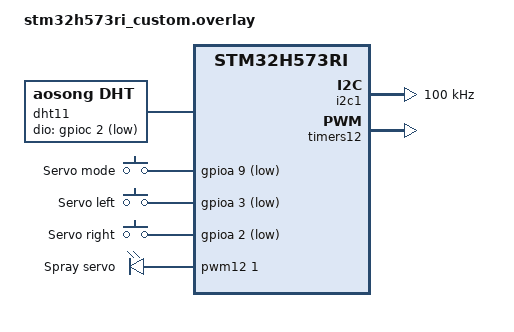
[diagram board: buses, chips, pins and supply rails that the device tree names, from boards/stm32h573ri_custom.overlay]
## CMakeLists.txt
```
cmake_minimum_required(VERSION 3.20.0)

# Board definition in boards/st/ (scripts/build.sh also passes it for sysbuild)
list(APPEND BOARD_ROOT ${CMAKE_CURRENT_SOURCE_DIR})

find_package(Zephyr REQUIRED HINTS $ENV{ZEPHYR_BASE})
project(SmartEnvironment)

# Firmware identity: FW_VERSION comes from the VERSION file (MCUboot signs the
# image with the same version); FW_DEVICE_NAME is the default device name and
# MQTT client ID (at most 15 characters)
if(NOT APP_VERSION_STRING)
  message(FATAL_ERROR "${CMAKE_CURRENT_SOURCE_DIR}/VERSION is missing")
endif()
target_compile_definitions(app PRIVATE
  FW_NAME="SmartEnvironment"
  FW_VERSION="${APP_VERSION_STRING}"
  FW_DEVICE_NAME="SmartEnv"
)

# Drivers in src/drivers/<name>: their .c files are built, their folder is on
# the include path
set(DRIVERS
  boot          # MCUboot image confirm, NRST swap gesture
  config        # configuration in flash (A/B + CRC), IP / MAC
  network       # W5500 Ethernet, DHCP / static IP
  mqtt          # MQTT client (TLS), status + per-device topics
  web           # web server: login, configuration page, /api
  gpio          # relays, buttons
  pwm           # used by the servo driver
  i2c           # bus of the LCD
  lcd           # 20x4 LCD (PCF8574)
  dht11         # temperature / humidity
  servo         # spray nozzle
)
foreach(drv ${DRIVERS})
  file(GLOB srcs ${CMAKE_CURRENT_SOURCE_DIR}/src/drivers/${drv}/*.c)
  target_sources(app PRIVATE ${srcs})
  target_include_directories(app PRIVATE src/drivers/${drv})
endforeach()

# Mbed TLS user config (src/drivers/mqtt/mbedtls_user_config.h) must be seen
# by the Zephyr libraries too
zephyr_include_directories(src/drivers/mqtt)

# Application: main.c and the logic files next to it (overview in src/app.h)
target_include_directories(app PRIVATE src)
target_sources(app PRIVATE
  src/main.c          # start-up, main loop, buttons
  src/env.c           # environment analysis, relay 1
  src/pump.c          # pump state machine
  src/motion.c        # servo thread, BTN2 hold
  src/lcd_view.c      # LCD thread and screens
  src/status_json.c   # JSON for MQTT and the web page
  src/web_app.c       # web page hooks, /api routes
)
```

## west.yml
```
# west manifest for the SmartEnvironment showcase.
#
#   west init -l --mf showcase/SmartEnvironment/west.yml fptUniversity
#   (run from the directory that holds the fptUniversity clone)
#   west update
#
# Only the modules this firmware needs are fetched. (scripts/setup.sh does
# all of this.)
manifest:
  version: "1.2"

  remotes:
    - name: zephyrproject-rtos
      url-base: https://github.com/zephyrproject-rtos

  projects:
    - name: zephyr
      remote: zephyrproject-rtos
      revision: v4.4.2
      import:
        name-allowlist:
          - cmsis
          - cmsis_6
          - hal_stm32
          - mbedtls
          - mcuboot
          - picolibc
          - segger
          - tf-psa-crypto
          - zcbor

  self:
    path: fptUniversity
```

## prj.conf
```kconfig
# SmartEnvironment 1.0.0 — DHT11 + environment advice + pump + spray servo.

# DHT11 (PC2). The bit timing is decoded by busy polling, keep IRQs from
# stretching the measured pulses.
CONFIG_SENSOR=y
CONFIG_DHT=y
CONFIG_DHT_LOCK_IRQS=y

# Spray servo on TIM12 (PB14)
CONFIG_PWM=y

# ── Console, MCUboot, config flash, LCD (I2C), Ethernet, web, MQTT ──
CONFIG_BOOT_BANNER=y
CONFIG_PRINTK=y
CONFIG_LOG=y
CONFIG_LOG_DEFAULT_LEVEL=3
CONFIG_STDOUT_CONSOLE=y

# Console over SEGGER RTT (read through the SWD probe, no UART adapter):
# printk and the log both go to RTT channel 0. UART5 stays free.
CONFIG_USE_SEGGER_RTT=y
CONFIG_RTT_CONSOLE=y
CONFIG_UART_CONSOLE=n
CONFIG_LOG_BACKEND_UART=n
CONFIG_LOG_BACKEND_RTT=y
# Keep SWD reachable while the idle thread sits in WFI
CONFIG_STM32_ENABLE_DEBUG_SLEEP_STOP=y
CONFIG_GPIO=y
CONFIG_BOOTLOADER_MCUBOOT=y
CONFIG_FLASH=y
CONFIG_FLASH_MAP=y
CONFIG_FLASH_PAGE_LAYOUT=y
CONFIG_IMG_MANAGER=y
CONFIG_MCUBOOT_IMG_MANAGER=y
CONFIG_STREAM_FLASH=y
CONFIG_IMG_ERASE_PROGRESSIVELY=y
CONFIG_REBOOT=y

# 20x4 LCD (PCF8574 on I2C1)
CONFIG_I2C=y

# W5500 Ethernet
CONFIG_SPI=y
CONFIG_ETH_W5500=y
CONFIG_NET_L2_ETHERNET=y
CONFIG_NETWORKING=y
CONFIG_NET_IPV4=y
CONFIG_NET_TCP=y
CONFIG_NET_SOCKETS=y
CONFIG_NET_DHCPV4=y
# IP is assigned at runtime by network.c (DHCP or static per web config).
# net_config auto-init + compile-time static are disabled so they don't
# force 192.168.1.100 before the DHCP client can request a lease.
CONFIG_NET_MGMT=y
CONFIG_NET_MGMT_EVENT=y
CONFIG_POSIX_API=y

# Thread / memory. Thread priorities: table in src/config.h. main (the
# control loop) is preemptible at 5, below the network stack (W5500 RX and
# TCP at 2) so a long computation never holds the network up.
CONFIG_MAIN_THREAD_PRIORITY=5
CONFIG_THREAD_NAME=y
CONFIG_MAIN_STACK_SIZE=4096
CONFIG_NET_TX_STACK_SIZE=2048
CONFIG_NET_RX_STACK_SIZE=2048
CONFIG_SYSTEM_WORKQUEUE_STACK_SIZE=2048
CONFIG_ZVFS_POLL_MAX=6
CONFIG_NET_MAX_CONN=8
CONFIG_NET_MAX_CONTEXTS=12

CONFIG_HEAP_MEM_POOL_SIZE=16384

# ── MQTT client + DNS ──
CONFIG_MQTT_LIB=y
CONFIG_DNS_RESOLVER=y
CONFIG_DNS_SERVER_IP_ADDRESSES=y
CONFIG_DNS_SERVER1="8.8.8.8"

# ── TLS for MQTT (port 8883, broker certificate verified against ISRG Root X1) ──
CONFIG_MQTT_LIB_TLS=y
CONFIG_NET_SOCKETS_SOCKOPT_TLS=y
CONFIG_NET_SOCKETS_TLS_MAX_CONTEXTS=2
CONFIG_NET_SOCKETS_TLS_CONNECT_TIMEOUT=10000
CONFIG_TLS_CREDENTIALS=y
CONFIG_MBEDTLS=y
CONFIG_MBEDTLS_ENABLE_HEAP=y
CONFIG_MBEDTLS_HEAP_SIZE=65536
# 16 KB input records; the output buffer is reduced to 2 KB in
# src/drivers/mqtt/mbedtls_user_config.h
CONFIG_MBEDTLS_SSL_MAX_CONTENT_LEN=16384
CONFIG_MBEDTLS_USER_CONFIG_FILE="mbedtls_user_config.h"
CONFIG_MBEDTLS_SSL_SERVER_NAME_INDICATION=y
CONFIG_MBEDTLS_SSL_PROTO_TLS1_3=y
CONFIG_MBEDTLS_SSL_TLS1_3_KEY_EXCHANGE_MODE_EPHEMERAL_ENABLED=y
CONFIG_MBEDTLS_CIPHERSUITE_TLS1_3_AES_128_GCM_SHA256=y
CONFIG_MBEDTLS_CIPHERSUITE_TLS_ECDHE_ECDSA_WITH_AES_128_GCM_SHA256=y
CONFIG_MBEDTLS_CIPHERSUITE_TLS_ECDHE_RSA_WITH_AES_128_GCM_SHA256=y
CONFIG_MBEDTLS_X509_CRT_PARSE_C=y
CONFIG_MBEDTLS_PEM_PARSE_C=y
CONFIG_PSA_WANT_ALG_SHA_384=y
```

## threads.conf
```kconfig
# Extra Kconfig for `scripts/build.sh --threads`: prints every thread's
# stack use and CPU share on the console (RTT) every 30 s. Not for release.
CONFIG_THREAD_ANALYZER=y
CONFIG_THREAD_ANALYZER_USE_PRINTK=y
CONFIG_THREAD_ANALYZER_AUTO=y
CONFIG_THREAD_ANALYZER_AUTO_INTERVAL=30
CONFIG_THREAD_RUNTIME_STATS=y
```

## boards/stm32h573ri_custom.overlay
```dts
/*
 * SmartEnvironment: DHT11, 20x4 LCD, mini pump, spray servo and 4 buttons on
 * the Base Board.
 *
 *   U16-5  PC2   DHT11 DATA        (SPI2 MISO on the board, SPI2 disabled below)
 *   U16-10 PB6   I2C1 SCL -> PCF8574 backpack of the 20x4 LCD
 *   U16-9  PB9   I2C1 SDA -> PCF8574 backpack of the 20x4 LCD
 *   U16-16 PB14  servo signal      (TIM12_CH1, USART1 TX on the board, USART1 disabled)
 *   U16-12 PA10  BTN1 pump ON/OFF  (user_btn of the board)
 *   U16-11 PA9   BTN2 servo mode   (hold 3 s; SPI2 SCK on the board)
 *   U16-3  PA3   BTN3 servo left   (hold; USART2 RX on the board)
 *   U16-4  PA2   BTN4 servo right  (hold; USART2 TX on the board)
 *   CN3-5/6      Relay 3 (PA15) switches the pump, high = on
 *   Relay 1 (PB5) blinks while the environment is not OK
 *
 * Buttons close to GND (U16-17/18); the internal pull-ups are used.
 * The board devicetree is left untouched; everything showcase specific is here.
 */

/ {
	chosen {
		/delete-property/ zephyr,canbus;
	};

	dht11: dht11 {
		compatible = "aosong,dht";
		/* Open drain: the line is only ever pulled low by the MCU; the
		 * internal pull-up is weak, add an external 4.7k-10k if the module
		 * has none. */
		dio-gpios = <&gpioc 2 (GPIO_ACTIVE_LOW | GPIO_OPEN_DRAIN | GPIO_PULL_UP)>;
	};

	showcase_buttons {
		compatible = "gpio-keys";
		btn_mode: btn_mode {
			gpios = <&gpioa 9 (GPIO_ACTIVE_LOW | GPIO_PULL_UP)>;
			label = "Servo mode";
		};
		btn_left: btn_left {
			gpios = <&gpioa 3 (GPIO_ACTIVE_LOW | GPIO_PULL_UP)>;
			label = "Servo left";
		};
		btn_right: btn_right {
			gpios = <&gpioa 2 (GPIO_ACTIVE_LOW | GPIO_PULL_UP)>;
			label = "Servo right";
		};
	};

	servos {
		compatible = "pwm-leds";
		/* 50 Hz; the pulse width (500..2400 us) sets the angle */
		spray_servo: spray_servo {
			pwms = <&pwm12 1 PWM_MSEC(20) PWM_POLARITY_NORMAL>;
			label = "Spray servo";
		};
	};

	/* Aliases of the drivers (driver_gpio, driver_dht11, driver_servo) */
	aliases {
		/* Pump switched by Relay 3 (PA15, high = contact closed):
		 * supply (+) -> CN3-5 COM3, CN3-6 OUT3 -> pump -> supply (-) */
		out0 = &relay_3;
		out1 = &relay_1;          /* alert relay, blinks with the level */
		out2 = &user_led;         /* LED LIFE (PA8), heartbeat */
		in0 = &user_btn;          /* BTN1 pump ON/OFF */
		in1 = &btn_mode;          /* BTN2 servo mode (hold 3 s) */
		in2 = &btn_left;          /* BTN3 servo left (hold) */
		in3 = &btn_right;         /* BTN4 servo right (hold) */
		dht0 = &dht11;
		servo0 = &spray_servo;
	};
};

/* Peripherals not used by the showcase */
&fdcan1 { status = "disabled"; };
&sdmmc1 { status = "disabled"; };
&usart1 { status = "disabled"; };  /* PB14: servo */
&usart2 { status = "disabled"; };  /* PA2, PA3: buttons */
&usart6 { status = "disabled"; };
&uart4  { status = "disabled"; };  /* RS485 not used */
&sht41  { status = "disabled"; };  /* replaced by the DHT11 */
&i2c2   { status = "disabled"; };
&spi2   { status = "disabled"; };  /* PC2: DHT11, PA9: button */

/* 20x4 LCD backpack: the PCF8574 is specified for 100 kHz only */
&i2c1 {
	clock-frequency = <I2C_BITRATE_STANDARD>;
};

&pinctrl {
	tim12_ch1_pb14: tim12_ch1_pb14 {
		pinmux = <STM32_PINMUX('B', 14, AF2)>;
	};
};

/* TIM12 for the servo: prescaler 100, the 20 ms period fits the 16-bit counter */
&timers12 {
	st,prescaler = <99>;
	status = "okay";
	pwm12: pwm {
		pinctrl-0 = <&tim12_ch1_pb14>;
		pinctrl-names = "default";
		status = "okay";
	};
};
```

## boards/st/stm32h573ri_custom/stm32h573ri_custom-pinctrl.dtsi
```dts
#include <dt-bindings/pinctrl/stm32-pinctrl.h>
&pinctrl {
        usart1_tx_pb14: usart1_tx_pb14 {
                pinmux = <STM32_PINMUX('B',14,AF4)>; };

        usart1_rx_pb15: usart1_rx_pb15 {
                pinmux = <STM32_PINMUX('B',15,AF4)>; };

        usart2_tx_pa2: usart2_tx_pa2 {
                pinmux = <STM32_PINMUX('A',2,AF7)>; };

        usart2_rx_pa3: usart2_rx_pa3 {
                pinmux = <STM32_PINMUX('A',3,AF7)>; };

        uart5_tx_pb13: uart5_tx_pb13 {
                pinmux = <STM32_PINMUX('B',13,AF14)>;
                bias-pull-up; };

        uart5_rx_pb12: uart5_rx_pb12 {
                pinmux = <STM32_PINMUX('B',12,AF14)>; };

        fdcan1_tx_pb7: fdcan1_tx_pb7 {
                pinmux = <STM32_PINMUX('B',7,AF9)>; };

        fdcan1_rx_pb8: fdcan1_rx_pb8 {
                pinmux = <STM32_PINMUX('B',8,AF9)>; };

        i2c1_scl_pb6: i2c1_scl_pb6 {
                pinmux = <STM32_PINMUX('B',6,AF4)>;
                bias-pull-up;
                drive-open-drain; };

        i2c1_sda_pb9: i2c1_sda_pb9 {
                pinmux = <STM32_PINMUX('B',9,AF4)>;
                bias-pull-up;
                drive-open-drain; };

        i2c2_scl_pb10: i2c2_scl_pb10 {
                pinmux = <STM32_PINMUX('B',10,AF4)>;
                bias-pull-up;
                drive-open-drain; };

        i2c2_sda_pb11: i2c2_sda_pb11 {
                pinmux = <STM32_PINMUX('B',11,AF4)>;
                bias-pull-up;
                drive-open-drain; };

        uart4_tx_pa0: uart4_tx_pa0 {
                pinmux = <STM32_PINMUX('A',0,AF8)>; };

        uart4_rx_pa1: uart4_rx_pa1 {
                pinmux = <STM32_PINMUX('A',1,AF8)>; };

        spi1_sck_pa5: spi1_sck_pa5 {
                pinmux = <STM32_PINMUX('A',5,AF5)>;
                slew-rate = "very-high-speed"; };

        spi1_miso_pa6: spi1_miso_pa6 {
                pinmux = <STM32_PINMUX('A',6,AF5)>; };

        spi1_mosi_pa7: spi1_mosi_pa7 {
                pinmux = <STM32_PINMUX('A',7,AF5)>;
                slew-rate = "very-high-speed"; };

        spi2_sck_pa9: spi2_sck_pa9 {
                pinmux = <STM32_PINMUX('A',9,AF5)>;
                slew-rate = "very-high-speed"; };

        spi2_mosi_pc1: spi2_mosi_pc1 {
                pinmux = <STM32_PINMUX('C',1,AF5)>;
                slew-rate = "very-high-speed"; };

        sdmmc1_d0_pc8: sdmmc1_d0_pc8 {
                pinmux = <STM32_PINMUX('C',8,AF12)>;
                bias-pull-up;
                slew-rate = "very-high-speed"; };

        sdmmc1_d1_pc9: sdmmc1_d1_pc9 {
                pinmux = <STM32_PINMUX('C',9,AF12)>;
                bias-pull-up;
                slew-rate = "very-high-speed"; };

        sdmmc1_d2_pc10: sdmmc1_d2_pc10 {
                pinmux = <STM32_PINMUX('C',10,AF12)>;
                bias-pull-up;
                slew-rate = "very-high-speed"; };

        sdmmc1_d3_pc11: sdmmc1_d3_pc11 {
                pinmux = <STM32_PINMUX('C',11,AF12)>;
                bias-pull-up;
                slew-rate = "very-high-speed"; };

        sdmmc1_ck_pc12: sdmmc1_ck_pc12 {
                pinmux = <STM32_PINMUX('C',12,AF12)>;
                slew-rate = "very-high-speed"; };

        sdmmc1_cmd_pb2: sdmmc1_cmd_pb2 {
                pinmux = <STM32_PINMUX('B',2,AF12)>;
                bias-pull-up;
                slew-rate = "very-high-speed"; };

        usart6_tx_pc6: usart6_tx_pc6 {
                pinmux = <STM32_PINMUX('C',6,AF7)>; };

        usart6_rx_pc7: usart6_rx_pc7 {
                pinmux = <STM32_PINMUX('C',7,AF7)>; };
};
```

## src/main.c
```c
/* SmartEnvironment: greenhouse / garden monitor with mist watering.
 *
 * main.c: start-up, the main loop and the buttons. The main thread reads the
 * DHT11 every 2 s (env.c), runs the pump state machine every second
 * (pump.c) and applies the commands of the buttons and the web page
 * (g_cmdq), so the environment and pump state only change here. The servo
 * (motion.c) and the LCD (lcd_view.c) have their own threads; LED LIFE and
 * relay 1 blink by themselves (driver_gpio_blink). Overview: app.h;
 * behaviour: README.md. */
#include <zephyr/kernel.h>
#include <zephyr/sys/printk.h>

#include "driver_dht11.h"
#include "driver_gpio.h"
#include "driver_servo.h"

#include "app_config.h"
#include "app_state.h"
#include "boot_swap.h"
#include "mqtt_app.h"
#include "network.h"
#include "app.h"

K_MUTEX_DEFINE(g_lock);
struct state g_st = { .code = ENV_WAIT };
uint32_t     g_events;

atomic_t g_servo_mode;
atomic_t g_servo_mdeg = ATOMIC_INIT(MDEG(SERVO_PARK_DEG));
atomic_t g_servo_req = ATOMIC_INIT(-1);
atomic_t g_sweeping;
atomic_t g_pump_on;
atomic_t g_hold_left, g_hold_right;
atomic_t g_mode_press_ms;
atomic_t g_alert_half_ms;

const char *const src_str[] = { "", "auto", "button", "web", "timeout" };

/* ── Commands → main thread ──────────────────────────────────── */
struct cmd {
    uint8_t type;
    int16_t val;
};

K_MSGQ_DEFINE(g_cmdq, sizeof(struct cmd), 8, 4);

bool app_post(uint8_t type, int16_t val)
{
    struct cmd c = { .type = type, .val = val };

    return k_msgq_put(&g_cmdq, &c, K_NO_WAIT) == 0;
}

void app_snapshot(struct state *st)
{
    k_mutex_lock(&g_lock, K_FOREVER);
    *st = g_st;
    k_mutex_unlock(&g_lock);
}

/* g_lock held */
static void handle_cmd(const struct cmd *c, int64_t now)
{
    switch (c->type) {
    case CMD_PUMP_TOGGLE:   /* during a session (even resting): OFF */
        pump_manual(!(g_st.pump_on || g_st.session), SRC_BUTTON, now);
        break;
    case CMD_PUMP_SET:
        pump_manual(c->val != 0, SRC_WEB, now);
        break;
    case CMD_PUMP_REARM:
        pump_rearm(now);
        break;
    case CMD_SERVO_TOGGLE:
        servo_set_mode(atomic_get(&g_servo_mode) == SERVO_AUTO ? SERVO_MANUAL : SERVO_AUTO);
        break;
    case CMD_SERVO_SET_MODE:
        servo_set_mode((enum servo_mode)c->val);
        break;
    case CMD_SERVO_ANGLE:
        if (atomic_get(&g_servo_mode) == SERVO_MANUAL) {
            atomic_set(&g_servo_req, c->val);
            g_events |= BIT(DEV_SERVO);
        }
        break;
    }
}

/* ── Buttons (driver_gpio callbacks, system work queue) ──────── */
static void on_button(uint8_t id, bool pressed)
{
    switch (id) {
    case IN_BTN_PUMP:
        if (pressed) app_post(CMD_PUMP_TOGGLE, 0);
        break;
    case IN_BTN_MODE:       /* the 3 s hold is timed by the motion thread */
        atomic_set(&g_mode_press_ms, pressed ? MAX((uint32_t)k_uptime_get(), 1u) : 0);
        break;
    case IN_BTN_LEFT:
        atomic_set(&g_hold_left, pressed);
        break;
    case IN_BTN_RIGHT:
        atomic_set(&g_hold_right, pressed);
        break;
    }
}

/* LED LIFE (out2) for the fast blink of boot_swap_check() at start-up */
static void led_set(bool on)
{
    driver_gpio_set(OUT_LED, on);
}

static void publish_events(void)
{
    for (unsigned int d = 0; d < DEV_COUNT; d++) {
        if (g_events & BIT(d)) mqtt_app_notify(d);
    }
    g_events = 0;
}

/* ── main thread ─────────────────────────────────────────────── */
int main(void)
{
    static const uint16_t heartbeat[] = HEARTBEAT_PATTERN;
    static const struct driver_servo_cfg servo_cfg = {
        .min_pulse_us = SERVO_PULSE_MIN_US, .max_pulse_us = SERVO_PULSE_MAX_US,
        .max_angle = SERVO_MAX_DEG,
    };

    printk("\n== %s v%s ==\n", FW_NAME, FW_VERSION);

    if (config_load(&g_cfg) != 0) {
        printk("[CFG] No saved config — loading defaults\n");
        config_defaults(&g_cfg);
    }
    boot_swap_confirm_image();
    if (driver_gpio_out_init(OUT_LED) != 0)      printk("[LED] LED LIFE (out2) not ready\n");
    boot_swap_check(led_set);                    /* 3 s NRST window, LED blinks fast */
    driver_gpio_blink(OUT_LED, heartbeat, ARRAY_SIZE(heartbeat));

    /* Drivers */
    if (driver_dht11_init(DHT_ID) != 0)          printk("[DHT11] not ready (dht0)\n");
    if (driver_gpio_out_init(OUT_PUMP) != 0)     printk("[PUMP] relay (out0) not ready\n");
    if (driver_gpio_out_init(OUT_ALERT) != 0)    printk("[ALERT] relay (out1) not ready\n");
    for (uint8_t i = IN_BTN_PUMP; i <= IN_BTN_RIGHT; i++) {
        if (driver_gpio_in_init(i, on_button) != 0) printk("[BTN] in%u not ready\n", i);
    }
    if (driver_servo_init(SERVO_ID, &servo_cfg) != 0) printk("[SERVO] servo0 not ready\n");
    else driver_servo_set_angle(SERVO_ID, SERVO_PARK_DEG);
    lcd_view_start();

    /* Ethernet comes up in the background (DHCP or static per config) */
    network_start();

    /* Boot screen; it also covers the DHT11's ~1 s power-up delay */
    k_msleep(SPLASH_MS);
    k_thread_start(motion_tid);
    k_thread_start(lcd_tid);

    int64_t now = k_uptime_get();
    int64_t next_read = now, next_tick = now + TICK_MS, next_report = now;
    pump_start(now);

    while (1) {
        struct cmd c;

        now = k_uptime_get();
        int64_t due = MIN(next_read, next_tick);

        /* Commands until the next tick or reading is due */
        if (k_msgq_get(&g_cmdq, &c, K_MSEC(MAX(due - now, 0))) == 0) {
            k_mutex_lock(&g_lock, K_FOREVER);
            handle_cmd(&c, k_uptime_get());
            k_mutex_unlock(&g_lock);
        }

        now = k_uptime_get();
        if (now >= next_tick) {
            next_tick = now + TICK_MS;
            k_mutex_lock(&g_lock, K_FOREVER);
            pump_tick(now);
            k_mutex_unlock(&g_lock);
        }
        if (now >= next_read) {
            int t = 0, h = 0;
            int rc = driver_dht11_read(DHT_ID, &t, &h);   /* outside the lock */

            next_read = now + DHT_READ_PERIOD_MS;
            network_update_ip();
            k_mutex_lock(&g_lock, K_FOREVER);
            bool was_req = g_st.water_request;
            env_update(rc == 0, t, h, k_uptime_get());
            pump_env_update(was_req, k_uptime_get());
            k_mutex_unlock(&g_lock);

            if (rc == 0) printk("| T=%dC | H=%d%% | IP=%s | %s | PUMP:%s | SERVO:%s %d |\n",
                                t, h, g_device_ip, env_info[g_st.code].str,
                                g_st.pump_on ? "ON" : "OFF",
                                atomic_get(&g_servo_mode) == SERVO_AUTO ? "auto" : "manual",
                                servo_angle());
            else printk("| DHT11 read error %d | %s |\n", rc, env_info[g_st.code].str);

            if (now >= next_report) {
                next_report = now + REPORT_PERIOD_MS;
                mqtt_app_publish_now();
            }
        }
        publish_events();
    }
    return 0;
}
```

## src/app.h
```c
#ifndef APP_H
#define APP_H

/* Types, shared state and functions of the SmartEnvironment files:
 *
 *   main.c         start-up, main loop (DHT11, ticks, commands), buttons
 *   env.c          situation table, environment analysis, relay 1
 *   pump.c         pump state machine
 *   motion.c       motion thread: servo, BTN2 3 s hold
 *   lcd_view.c     lcd thread: boot, status and warning screens
 *   status_json.c  JSON of the devices (MQTT status / events, web page)
 *   web_app.c      web page hooks and /api/... routes (page text: web_page.h)
 *
 * The environment and pump state (g_st) only change in the main thread,
 * under g_lock; the other threads read it under g_lock or use the atomics. */
#include <zephyr/kernel.h>
#include <zephyr/sys/atomic.h>
#include <stdbool.h>
#include <stdint.h>
#include "config.h"

/* MQTT event topics, one per device (names in status_json.c) */
enum dev { DEV_PUMP, DEV_SERVO, DEV_ENV, DEV_SENSOR, DEV_RELAY, DEV_COUNT };

/* ── Environment situations (env.c) ──────────────────────────── */
enum level { LVL_OK, LVL_WARN, LVL_CRIT };

enum code {
    ENV_WAIT, ENV_OK, ENV_HOT_DRY, ENV_HOT, ENV_HOT_EXTREME, ENV_HOT_HUMID,
    ENV_DRY, ENV_HUMID, ENV_COLD_DRY, ENV_COLD, ENV_COLD_HUMID, ENV_SENSOR,
    ENV_CODE_COUNT,
};

struct env_info {
    const char *str;
    enum level  level;
    bool        waters;
    const char *title;     /* Vietnamese, web / MQTT */
    const char *advice;    /* Vietnamese, web / MQTT */
    const char *lcd;       /* English, LCD warning screen, <= 20 characters */
};

extern const struct env_info env_info[ENV_CODE_COUNT];
extern const char *const level_str[];

/* ── Pump and servo ──────────────────────────────────────────── */
enum pump_src  { SRC_NONE, SRC_AUTO, SRC_BUTTON, SRC_WEB, SRC_TIMEOUT };
extern const char *const src_str[];
enum servo_mode { SERVO_AUTO, SERVO_MANUAL };

/* What the LCD, the web page and MQTT show (written by the main thread) */
struct state {
    /* environment */
    bool      have_data, sensor_ok;
    int       temp_c, humi_pct, heat_index_c;
    bool      hi_valid;
    uint32_t  reads;
    enum code code;
    bool      water_request;
    /* pump */
    bool      pump_on;
    enum pump_src pump_by;
    bool      inhibited;          /* auto mode INHIBITED, else ARMED */
    bool      session, resting;   /* automatic watering, pump off between cycles */
    int64_t   phase_end;          /* end of the cycle phase / manual run */
    uint8_t   cycles;             /* automatic cycles in the current hour */
};

extern struct k_mutex g_lock;
extern struct state   g_st;
extern uint32_t       g_events;          /* BIT(dev) to publish (main thread) */

/* Atomics shared with the motion thread and the button callbacks */
extern atomic_t g_servo_mode;            /* enum servo_mode */
extern atomic_t g_servo_mdeg;            /* servo angle, milli-degrees */
extern atomic_t g_servo_req;             /* web angle request, -1 = none */
extern atomic_t g_sweeping;
extern atomic_t g_pump_on;               /* the servo sweeps while it is set */
extern atomic_t g_hold_left, g_hold_right;   /* BTN3 / BTN4 held */
extern atomic_t g_mode_press_ms;         /* BTN2 pressed since (uptime ms), 0 = released */
extern atomic_t g_alert_half_ms;         /* relay 1 blink half period, 0 = off */

/* ── Commands (buttons, web, motion thread) → main thread ────── */
enum cmd_type {
    CMD_PUMP_TOGGLE,      /* BTN1 */
    CMD_PUMP_SET,         /* web: val = 0/1 */
    CMD_PUMP_REARM,       /* web */
    CMD_SERVO_TOGGLE,     /* BTN2 held 3 s */
    CMD_SERVO_SET_MODE,   /* web: val = mode */
    CMD_SERVO_ANGLE,      /* web: val = degrees */
};

/* main.c */
bool app_post(uint8_t type, int16_t val);     /* false when the queue is full */
void app_snapshot(struct state *st);           /* copy of g_st under g_lock */

/* env.c (main thread, g_lock held) */
void env_update(bool ok, int temp_c, int humi_pct, int64_t now);
enum level env_level(enum code c);

/* pump.c (main thread, g_lock held) */
void pump_start(int64_t now);
void pump_tick(int64_t now);
void pump_env_update(bool was_req, int64_t now);
void pump_manual(bool on, enum pump_src src, int64_t now);
void pump_rearm(int64_t now);

/* motion.c */
extern const k_tid_t motion_tid;
void servo_set_mode(enum servo_mode m);        /* main thread */
int  servo_angle(void);                        /* degrees */

/* lcd_view.c */
extern const k_tid_t lcd_tid;
void lcd_view_start(void);                     /* probe the LCD, boot screen */
bool lcd_view_ok(void);

#endif /* APP_H */
```

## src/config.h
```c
#ifndef CONFIG_H
#define CONFIG_H

/* Settings of SmartEnvironment: thresholds, periods, timings, driver ids.
 * Change the behaviour here; the logic is in the .c files next to main.c. */

/* ── Timing ──────────────────────────────────────────────────── */
#define DHT_READ_PERIOD_MS     2000   /* DHT11 needs >= 2 s between reads */
#define TICK_MS                1000   /* pump state machine */
#define REPORT_PERIOD_MS      30000   /* MQTT status */
#define SPLASH_MS              5000
#define MOTION_TICK_MS           20
#define LCD_PERIOD_MS           200
#define LCD_WARN_SWAP_MS       2000
#define LCD_RETRY_MS          10000

/* ── Environment thresholds (°C / %RH; DHT11: ±2 °C, ±5 %RH, 20..90 %RH) ── */
#define ENV_T_HOT_C              32   /* HOT above, back at <= 32 - hyst */
#define ENV_T_EXTREME_C          38   /* HOT and >= this: watering even if not dry */
#define ENV_T_COLD_C             15   /* COLD below, back at >= 15 + hyst */
#define ENV_T_HYST_C              1
#define ENV_H_DRY_PCT            40   /* DRY below */
#define ENV_H_HUMID_PCT          80   /* HUMID above */
#define ENV_H_HYST_PCT            3
#define ENV_SENSOR_FAILS          3   /* failed reads in a row => sensor fault */
#define ENV_CONFIRM_READS         3   /* same situation N reads in a row */
#define ENV_WATER_CONFIRM_MS  30000   /* watering situation held => request */

/* ── Pump ────────────────────────────────────────────────────── */
#define PUMP_ON_S                20
#define PUMP_REST_S              60
#define PUMP_MAX_CYCLES_PER_HOUR 10
#define PUMP_MANUAL_MAX_S       600
#define HOUR_MS          (3600LL * 1000)

/* ── Servo (0..180° = 500..2400 us) ─────────────────────────── */
#define SERVO_MIN_DEG             0
#define SERVO_MAX_DEG           180
#define SERVO_AUTO_MIN_DEG       30
#define SERVO_AUTO_MAX_DEG      150
#define SERVO_PARK_DEG           90
#define SERVO_AUTO_SPEED_DPS     15   /* one 30..150° sweep in 8 s */
#define SERVO_MANUAL_SPEED_DPS   30
#define SERVO_PULSE_MIN_US      500
#define SERVO_PULSE_MAX_US     2400
#define MODE_HOLD_MS           3000   /* BTN2 held this long switches the mode */
#define MDEG(d)        ((int32_t)(d) * 1000)

/* ── Relay 1 blink (driver_gpio_blink patterns: ms on, ms off) ── */
#define ALERT_SLOW_HALF_MS     1000   /* warning */
#define ALERT_FAST_HALF_MS      500   /* critical */
#define HEARTBEAT_PATTERN   { 80, 80, 80, 760 }   /* LED LIFE: double blink / s */

/* ── Driver ids (aliases in the overlay) ─────────────────────── */
#define OUT_PUMP      0   /* out0 = Relay 3 */
#define OUT_ALERT     1   /* out1 = Relay 1 */
#define OUT_LED       2   /* out2 = LED LIFE (PA8) */
#define IN_BTN_PUMP   0   /* in0 = BTN1 PA10 */
#define IN_BTN_MODE   1   /* in1 = BTN2 PA9  */
#define IN_BTN_LEFT   2   /* in2 = BTN3 PA3  */
#define IN_BTN_RIGHT  3   /* in3 = BTN4 PA2  */
#define DHT_ID        0   /* dht0 */
#define SERVO_ID      0   /* servo0 */

/* ── Threads (priority: lower number runs first) ─────────────────
 *   prio  thread            period / wakes on        work
 *   coop  net RX, sysworkq  packets, timers          Zephyr: network, buttons, blink
 *    2    W5500 RX, TCP     W5500 IRQ                Zephyr Ethernet driver
 *    4    motion            20 ms                    servo step, BTN2 hold (short)
 *    5    main              command / 1 s / 2 s      control loop, DHT11 read
 *    6    net_up            once at start            DHCP / static IP
 *    7    lcd               200 ms                   LCD rows over I2C (~10 ms)
 *    8    web               HTTP request             web page, /api
 *   10    mqtt              socket / 200 ms          MQTT, TLS handshake (long)
 * Shorter period => higher priority; network I/O and long computations
 * below the device threads. Shared state: g_lock (priority inheritance)
 * or atomics. Stack use: build with scripts/build.sh --threads.
 * Note: a DHT11 read locks the interrupts ~23 ms every 2 s
 * (CONFIG_DHT_LOCK_IRQS, 18 ms start pulse + 40 bits): every thread may be
 * late by that much once per reading; the servo PWM (timer) is not. */
#define MOTION_PRIO     4
#define MOTION_STACK 1536
#define LCD_PRIO        7
#define LCD_STACK    2048

/* ── LCD ─────────────────────────────────────────────────────── */
#define LCD_COLS     20
#define LCD_ROWS      4

#endif /* CONFIG_H */
```

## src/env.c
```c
/* env.c — environment analysis: every DHT11 reading is placed in a 3x3
 * matrix (temperature COLD / NORMAL / HOT x humidity DRY / NORMAL / HUMID)
 * with hysteresis, plus a sensor fault. A new situation must be read
 * ENV_CONFIRM_READS times in a row. Each situation has a level, a Vietnamese
 * title / advice (web, MQTT), an English LCD reason and says whether watering
 * helps; relay 1 blinks with the level. */
#include <zephyr/sys/printk.h>
#include <math.h>

#include "driver_gpio.h"
#include "app.h"

const char *const level_str[] = { "ok", "warning", "critical" };

const struct env_info env_info[ENV_CODE_COUNT] = {
    [ENV_WAIT] = { "WAIT", LVL_OK, false, "Đang chờ dữ liệu",
        "Cảm biến đang khởi động.", "Reading sensor" },
    [ENV_OK] = { "OK", LVL_OK, false, "Môi trường tốt",
        "Nhiệt độ và độ ẩm trong ngưỡng phù hợp, không cần can thiệp.", "Environment OK" },
    [ENV_HOT_DRY] = { "HOT_DRY", LVL_CRIT, true, "Nóng và khô",
        "Cây mất nước nhanh, có nguy cơ héo. Phun sương làm mát, che nắng, tưới bổ sung.",
        "Hot and dry air" },
    [ENV_HOT] = { "HOT", LVL_WARN, false, "Nhiệt độ cao",
        "Che nắng, tăng thông gió. Hệ thống sẽ phun sương nếu nhiệt độ vượt 38 °C.",
        "High temperature" },
    [ENV_HOT_EXTREME] = { "HOT_EXTREME", LVL_CRIT, true, "Nhiệt độ rất cao",
        "Nguy cơ sốc nhiệt cho cây. Phun sương làm mát, che nắng, tăng thông gió ngay.",
        "Extreme heat" },
    [ENV_HOT_HUMID] = { "HOT_HUMID", LVL_CRIT, false, "Nóng và ẩm",
        "Chỉ số nóng cao, dễ phát sinh nấm bệnh. KHÔNG phun nước; mở thông gió hoặc bật quạt.",
        "Hot and humid air" },
    [ENV_DRY] = { "DRY", LVL_WARN, true, "Không khí khô hanh",
        "Độ ẩm thấp. Tưới hoặc phun sương để tăng độ ẩm.", "Dry air" },
    [ENV_HUMID] = { "HUMID", LVL_WARN, false, "Độ ẩm cao",
        "Nguy cơ nấm mốc. Thông gió, giảm tưới.", "High humidity" },
    [ENV_COLD_DRY] = { "COLD_DRY", LVL_WARN, false, "Lạnh và khô",
        "Che chắn gió, giữ ấm cho cây. Không phun nước (làm lạnh thêm).", "Cold and dry air" },
    [ENV_COLD] = { "COLD", LVL_WARN, false, "Nhiệt độ thấp",
        "Giữ ấm cho cây, hạn chế tưới.", "Low temperature" },
    [ENV_COLD_HUMID] = { "COLD_HUMID", LVL_CRIT, false, "Lạnh và ẩm",
        "Nguy cơ sương muối, thối rễ. Giữ ấm, thông gió, ngừng tưới.", "Cold and humid air" },
    [ENV_SENSOR] = { "SENSOR", LVL_CRIT, false, "Lỗi cảm biến",
        "DHT11 không trả lời. Kiểm tra dây và nguồn cảm biến. Tưới tự động tạm dừng.",
        "DHT11 sensor error" },
};

static const uint16_t ALERT_SLOW_MS[] = { ALERT_SLOW_HALF_MS, ALERT_SLOW_HALF_MS };
static const uint16_t ALERT_FAST_MS[] = { ALERT_FAST_HALF_MS, ALERT_FAST_HALF_MS };

/* Analysis state (main thread) */
static int       s_tb, s_hb;          /* temperature / humidity band: 0 normal, 1 low, 2 high */
static bool      s_extreme;
static int       s_fails;
static enum code s_cand;
static int       s_cand_reads;
static int64_t   s_water_since;

enum level env_level(enum code c) { return env_info[c].level; }

static int band(int cur, int v, int low, int high, int hyst)
{
    if (v > high) return 2;
    if (v < low)  return 1;
    if (cur == 2 && v > high - hyst) return 2;
    if (cur == 1 && v < low + hyst)  return 1;
    return 0;
}

static enum code classify(int t, int h)
{
    static const enum code m[3][3] = {
        /*           H normal  H dry         H humid */
        /* T normal */ { ENV_OK,   ENV_DRY,      ENV_HUMID },
        /* T cold   */ { ENV_COLD, ENV_COLD_DRY, ENV_COLD_HUMID },
        /* T hot    */ { ENV_HOT,  ENV_HOT_DRY,  ENV_HOT_HUMID },
    };

    s_tb = band(s_tb, t, ENV_T_COLD_C, ENV_T_HOT_C, ENV_T_HYST_C);
    s_hb = band(s_hb, h, ENV_H_DRY_PCT, ENV_H_HUMID_PCT, ENV_H_HYST_PCT);
    s_extreme = s_extreme ? (t > ENV_T_EXTREME_C - 2 * ENV_T_HYST_C) : (t >= ENV_T_EXTREME_C);
    enum code c = m[s_tb][s_hb];
    return (c == ENV_HOT && s_extreme) ? ENV_HOT_EXTREME : c;
}

/* NOAA heat index (Rothfusz regression), °C in and out */
static int heat_index_c(int t_c, int rh)
{
    float t = t_c * 9.0f / 5.0f + 32.0f;
    float hi = 0.5f * (t + 61.0f + (t - 68.0f) * 1.2f + rh * 0.094f);

    if ((hi + t) / 2.0f >= 80.0f) {
        hi = -42.379f + 2.04901523f * t + 10.14333127f * rh
             - 0.22475541f * t * rh - 0.00683783f * t * t
             - 0.05481717f * rh * rh + 0.00122874f * t * t * rh
             + 0.00085282f * t * rh * rh - 0.00000199f * t * t * rh * rh;
    }
    return (int)lroundf((hi - 32.0f) * 5.0f / 9.0f);
}

void env_update(bool ok, int t, int h, int64_t now)
{
    enum code raw, old = g_st.code;

    g_st.reads++;
    if (ok) {
        s_fails = 0;
        g_st.sensor_ok = true;
        g_st.have_data = true;
        g_st.temp_c = t;
        g_st.humi_pct = h;
        g_st.hi_valid = (t >= 27 && h >= 40);
        g_st.heat_index_c = g_st.hi_valid ? heat_index_c(t, h) : t;
        raw = classify(t, h);
    } else {
        if (s_fails < ENV_SENSOR_FAILS) s_fails++;
        g_st.sensor_ok = false;
        /* keep the current situation until the failure is persistent */
        raw = (s_fails >= ENV_SENSOR_FAILS) ? ENV_SENSOR : g_st.code;
    }

    /* New situation: ENV_CONFIRM_READS in a row; first reading and sensor
     * fault (start / end) apply at once */
    if (raw == g_st.code) {
        s_cand_reads = 0;
    } else if (g_st.code == ENV_WAIT || g_st.code == ENV_SENSOR || raw == ENV_SENSOR) {
        g_st.code = raw;
        s_cand_reads = 0;
    } else {
        if (raw != s_cand) {
            s_cand = raw;
            s_cand_reads = 0;
        }
        if (++s_cand_reads >= ENV_CONFIRM_READS) {
            g_st.code = raw;
            s_cand_reads = 0;
        }
    }
    if ((g_st.code == ENV_SENSOR) != (old == ENV_SENSOR)) g_events |= BIT(DEV_SENSOR);
    if (g_st.code != old) {
        g_events |= BIT(DEV_ENV);
        printk("[ENV] %s -> %s (%s)\n", env_info[old].str, env_info[g_st.code].str,
               level_str[env_level(g_st.code)]);
    }

    /* Watering request: a watering situation held ENV_WATER_CONFIRM_MS */
    bool waters = env_info[g_st.code].waters;
    if (!waters) {
        s_water_since = 0;
    } else if (s_water_since == 0 || !env_info[old].waters) {
        s_water_since = now;
    }
    bool req = waters && (now - s_water_since >= ENV_WATER_CONFIRM_MS);
    if (req != g_st.water_request) printk("[ENV] water request %s\n", req ? "ON" : "OFF");
    g_st.water_request = req;

    /* Relay 1 follows the level */
    enum level lv = env_level(g_st.code);
    atomic_val_t half = lv == LVL_CRIT ? ALERT_FAST_HALF_MS : lv == LVL_WARN ? ALERT_SLOW_HALF_MS : 0;
    if (atomic_set(&g_alert_half_ms, half) != half) {
        g_events |= BIT(DEV_RELAY);
        driver_gpio_blink(OUT_ALERT, half == ALERT_FAST_HALF_MS ? ALERT_FAST_MS : ALERT_SLOW_MS,
                          half ? 2 : 0);
    }
}
```

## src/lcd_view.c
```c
/* lcd_view.c — the 20x4 LCD (lcd thread, redraws every LCD_PERIOD_MS)
 *
 *   Boot (5 s)              Status                  Warning
 *   |  Showcase v1.0.0   |  |IP:     192.168.1.50|  |  !!! Warning !!!   |
 *   | Smart Environment  |  |T: 34*C       H: 35%|  |                    |
 *   |  DHT + web server  |  |Motor: ON  Mode:AUTO|  |  Hot and dry air   |
 *   |                    |  |MQTT: OK            |  |                    |
 *
 * Motor = pump, Mode = servo mode. While the environment is not OK the warning
 * and status screens take turns, LCD_WARN_SWAP_MS each. driver_lcd_update()
 * writes only the rows that changed. */
#include <zephyr/sys/printk.h>
#include <stdio.h>

#include "driver_lcd.h"
#include "app_config.h"
#include "app_state.h"
#include "mqtt_app.h"
#include "network.h"
#include "app.h"

static struct driver_lcd s_lcd;

static void lcd_probe(void)
{
    int addr = driver_lcd_init_probe(&s_lcd, LCD_COLS, LCD_ROWS);

    if (addr > 0) printk("[LCD] 20x4 at 0x%02X\n", addr);
}

bool lcd_view_ok(void)
{
    return driver_lcd_is_ready(&s_lcd);
}

void lcd_view_start(void)
{
    char rows[LCD_ROWS][DRIVER_LCD_ROW_SIZE] = { 0 };

    lcd_probe();
    if (!lcd_view_ok()) {
        printk("[LCD] no PCF8574 backpack on I2C1\n");
        return;
    }
    driver_lcd_fmt_center(rows[0], LCD_COLS, "Showcase v" FW_VERSION);
    driver_lcd_fmt_center(rows[1], LCD_COLS, "Smart Environment");
    driver_lcd_fmt_center(rows[2], LCD_COLS, "DHT + web server");
    driver_lcd_update(&s_lcd, rows);
}

static void build_rows(char rows[LCD_ROWS][DRIVER_LCD_ROW_SIZE], int64_t now)
{
    static int64_t warn_start;
    struct state st;
    char ip[16], t[12] = "T: --", h[12] = "H: --";

    app_snapshot(&st);

    if (env_level(st.code) != LVL_OK) {
        if (warn_start == 0) warn_start = now;
        if (((now - warn_start) / LCD_WARN_SWAP_MS) % 2 == 0) {
            driver_lcd_fmt_center(rows[0], LCD_COLS, "!!! Warning !!!");
            rows[1][0] = '\0';
            driver_lcd_fmt_center(rows[2], LCD_COLS, env_info[st.code].lcd);
            rows[3][0] = '\0';
            return;
        }
    } else {
        warn_start = 0;
    }

    /* The live IP once Ethernet is up, before that the saved static one */
    if (network_eth_connected()) snprintf(ip, sizeof(ip), "%s", g_device_ip);
    else                         ip4_to_str(g_cfg.static_ip, ip);
    snprintf(rows[0], DRIVER_LCD_ROW_SIZE, "IP:%17s", ip);

    if (st.have_data) {
        snprintf(t, sizeof(t), "T: %d%cC", st.temp_c, 0xDF);
        snprintf(h, sizeof(h), "H: %d%%", st.humi_pct);
    }
    driver_lcd_fmt_left_right(rows[1], LCD_COLS, t, h);
    snprintf(rows[2], DRIVER_LCD_ROW_SIZE, "Motor: %-3s Mode:%s", st.pump_on ? "ON" : "OFF",
             atomic_get(&g_servo_mode) == SERVO_AUTO ? "AUTO" : "MAN");
    snprintf(rows[3], DRIVER_LCD_ROW_SIZE, "MQTT: %s",
             network_eth_connected() && mqtt_app_is_connected() ? "OK" : "N/A");
}

static void lcd_thread(void *a, void *b, void *c)
{
    ARG_UNUSED(a); ARG_UNUSED(b); ARG_UNUSED(c);
    int64_t next_retry = 0;

    while (1) {
        int64_t now = k_uptime_get();

        /* Missing or unplugged LCD: probe again every LCD_RETRY_MS */
        if (!lcd_view_ok() && now >= next_retry) {
            next_retry = now + LCD_RETRY_MS;
            lcd_probe();
        }
        if (lcd_view_ok()) {
            char rows[LCD_ROWS][DRIVER_LCD_ROW_SIZE];

            build_rows(rows, now);
            driver_lcd_update(&s_lcd, rows);      /* writes the rows that changed */
        }
        k_msleep(LCD_PERIOD_MS);
    }
}

/* Started by main after the boot screen */
K_THREAD_DEFINE(lcd_tid, LCD_STACK, lcd_thread, NULL, NULL, NULL, LCD_PRIO, 0, SYS_FOREVER_MS);
```

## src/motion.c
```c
/* motion.c — spray servo and BTN2 hold (motion thread, 20 ms tick).
 *
 * AUTO sweeps SERVO_AUTO_MIN_DEG..SERVO_AUTO_MAX_DEG while the pump runs and
 * parks at SERVO_PARK_DEG otherwise; MANUAL turns while BTN3 / BTN4 are held
 * or goes to the angle set on the web page. BTN2 held MODE_HOLD_MS switches
 * the mode (through the main thread). The angle is kept in milli-degrees so
 * slow speeds move smoothly. */
#include <zephyr/sys/printk.h>

#include "driver_servo.h"
#include "mqtt_app.h"
#include "app.h"

/* Move *mdeg towards target by at most step; true once there */
static bool approach(int32_t *mdeg, int32_t target, int32_t step)
{
    if (*mdeg < target)      *mdeg = MIN(*mdeg + step, target);
    else if (*mdeg > target) *mdeg = MAX(*mdeg - step, target);
    return *mdeg == target;
}

/* Main thread, g_lock held */
void servo_set_mode(enum servo_mode m)
{
    if (atomic_set(&g_servo_mode, m) != m) {
        printk("[SERVO] mode %s\n", m == SERVO_AUTO ? "auto" : "manual");
        g_events |= BIT(DEV_SERVO);
    }
}

int servo_angle(void)
{
    return (int)((atomic_get(&g_servo_mdeg) + 500) / 1000);
}

static void motion_thread(void *a, void *b, void *c)
{
    ARG_UNUSED(a); ARG_UNUSED(b); ARG_UNUSED(c);
    int32_t mdeg = MDEG(SERVO_PARK_DEG);
    int8_t  dir = 1, last_hold = 0;
    uint32_t pulse_us = 0;
    bool    mode_done = false;
    int64_t next = k_uptime_get();

    while (1) {
        int64_t now = k_uptime_get();

        /* BTN2: switch once after MODE_HOLD_MS, then wait for the release */
        uint32_t pressed_at = (uint32_t)atomic_get(&g_mode_press_ms);
        if (pressed_at == 0) {
            mode_done = false;
        } else if (!mode_done && (uint32_t)now - pressed_at >= MODE_HOLD_MS) {
            mode_done = true;
            app_post(CMD_SERVO_TOGGLE, 0);
        }

        /* Servo */
        if (atomic_get(&g_servo_mode) == SERVO_AUTO) {
            int32_t step = SERVO_AUTO_SPEED_DPS * MOTION_TICK_MS;   /* milli-degrees */
            bool sweep = atomic_get(&g_pump_on);
            atomic_set(&g_sweeping, sweep);
            if (sweep) {
                int32_t target = dir > 0 ? MDEG(SERVO_AUTO_MAX_DEG) : MDEG(SERVO_AUTO_MIN_DEG);
                if (approach(&mdeg, target, step)) dir = -dir;
            } else {
                approach(&mdeg, MDEG(SERVO_PARK_DEG), step);
            }
            last_hold = 0;
            atomic_set(&g_servo_req, -1);
        } else {
            atomic_set(&g_sweeping, 0);
            atomic_val_t req = atomic_set(&g_servo_req, -1);
            if (req >= 0) mdeg = MDEG(req);
            bool l = atomic_get(&g_hold_left), r = atomic_get(&g_hold_right);
            int8_t hold = (l == r) ? 0 : (l ? -1 : 1);
            if (hold) {
                approach(&mdeg, hold > 0 ? MDEG(SERVO_MAX_DEG) : MDEG(SERVO_MIN_DEG),
                         SERVO_MANUAL_SPEED_DPS * MOTION_TICK_MS);
            } else if (last_hold) {
                mqtt_app_notify(DEV_SERVO);    /* report where the user stopped */
            }
            last_hold = hold;
        }
        atomic_set(&g_servo_mdeg, mdeg);
        uint32_t us = SERVO_PULSE_MIN_US + (uint32_t)((int64_t)mdeg *
                      (SERVO_PULSE_MAX_US - SERVO_PULSE_MIN_US) / MDEG(SERVO_MAX_DEG));
        if (us != pulse_us) {
            pulse_us = us;
            driver_servo_set_pulse_us(SERVO_ID, (uint16_t)us);
        }
        /* Fixed 20 ms grid (absolute wake-up): the time spent above does
         * not add up, so the sweep speed stays exact */
        next += MOTION_TICK_MS;
        if (next < now) next = now + MOTION_TICK_MS;      /* overrun: no catch-up burst */
        k_sleep(K_TIMEOUT_ABS_MS(next));
    }
}

/* Started by main after the boot screen */
K_THREAD_DEFINE(motion_tid, MOTION_STACK, motion_thread, NULL, NULL, NULL, MOTION_PRIO, 0,
                SYS_FOREVER_MS);
```

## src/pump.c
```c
/* pump.c — mini pump on Relay 3 (out0).
 *
 * Automatic watering while ARMED and a watering situation has held
 * ENV_WATER_CONFIRM_MS (g_st.water_request): cycles PUMP_ON_S on /
 * PUMP_REST_S off, at most PUMP_MAX_CYCLES_PER_HOUR. A manual OFF during
 * watering (or while water is wanted) sets INHIBITED until "Re-enable auto"
 * on the web or the end of the watering situation. Manual ON stops after
 * PUMP_MANUAL_MAX_S. All functions run in the main thread with g_lock held. */
#include <zephyr/sys/printk.h>

#include "driver_gpio.h"
#include "app.h"

static int64_t s_hour_start;

static void pump_output(bool on, enum pump_src src)
{
    if (on != g_st.pump_on || src != g_st.pump_by) g_events |= BIT(DEV_PUMP);
    if (on != g_st.pump_on) {
        printk("[PUMP] %s (%s)\n", on ? "ON" : "OFF", src_str[src]);
        driver_gpio_set(OUT_PUMP, on);
        atomic_set(&g_pump_on, on);
    }
    g_st.pump_on = on;
    g_st.pump_by = src;
}

static void set_inhibited(bool inh)
{
    if (inh == g_st.inhibited) return;
    g_st.inhibited = inh;
    g_events |= BIT(DEV_PUMP);
    printk("[PUMP] auto %s\n", inh ? "inhibited" : "armed");
}

static void end_session(void)
{
    if (!g_st.session) return;
    g_st.session = false;
    g_st.resting = false;
    g_events |= BIT(DEV_PUMP);
    if (g_st.pump_on && g_st.pump_by == SRC_AUTO) pump_output(false, SRC_AUTO);
}

static void start_cycle(int64_t now)
{
    g_st.session   = true;
    g_st.resting   = false;
    g_st.phase_end = now + PUMP_ON_S * 1000;
    g_st.cycles++;
    pump_output(true, SRC_AUTO);
}

/* Start automatic watering when everything allows it */
static void pump_evaluate(int64_t now)
{
    bool manual_on = g_st.pump_on && g_st.pump_by != SRC_AUTO;

    if (!g_st.session && !g_st.inhibited && g_st.water_request && !manual_on &&
        g_st.cycles < PUMP_MAX_CYCLES_PER_HOUR) {
        start_cycle(now);
    }
}

void pump_start(int64_t now)
{
    s_hour_start = now;
}

/* Water request after a DHT11 read */
void pump_env_update(bool was_req, int64_t now)
{
    if (was_req && !g_st.water_request) {
        end_session();             /* the watering alert is over */
        set_inhibited(false);      /* and allows auto again */
    }
    pump_evaluate(now);
}

/* 1 s tick: cycle phases, manual run limit, hourly cycle count */
void pump_tick(int64_t now)
{
    if (now - s_hour_start >= HOUR_MS) {
        s_hour_start = now;
        g_st.cycles = 0;
    }
    if (g_st.pump_on && g_st.pump_by != SRC_AUTO && now >= g_st.phase_end) {
        printk("[PUMP] manual run limit reached\n");
        pump_output(false, SRC_TIMEOUT);
    }
    if (g_st.session && now >= g_st.phase_end) {
        if (!g_st.resting) {
            g_st.resting   = true;
            g_st.phase_end = now + PUMP_REST_S * 1000;
            pump_output(false, SRC_AUTO);
        } else if (!g_st.inhibited && g_st.water_request &&
                   g_st.cycles < PUMP_MAX_CYCLES_PER_HOUR) {
            start_cycle(now);
        } else {
            end_session();
        }
    }
    pump_evaluate(now);
}

/* Manual switch (BTN1 / web) */
void pump_manual(bool on, enum pump_src src, int64_t now)
{
    if (on) {
        /* a manual ON takes over: the automatic session ends */
        g_st.session = false;
        g_st.resting = false;
        g_st.phase_end = now + PUMP_MANUAL_MAX_S * 1000;
        pump_output(true, src);
        g_events |= BIT(DEV_PUMP);
    } else {
        /* stopping while water is wanted must not restart it at the next tick */
        if (g_st.session || g_st.water_request) set_inhibited(true);
        pump_output(false, src);
        end_session();
    }
}

/* Web "Re-enable auto" */
void pump_rearm(int64_t now)
{
    set_inhibited(false);
    pump_evaluate(now);
}
```

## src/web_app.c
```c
/* web_app.c — this showcase's part of the web page (hooks of web_core.h):
 * Device Information cells, the sections and script (web_page.h), and the
 * /api/... routes. The routes only post commands to the main thread; the
 * page shows the result at its next poll (d.app = MQTT status JSON). */
#include <stdlib.h>
#include <string.h>

#include "http.h"
#include "web_core.h"
#include "web_page.h"
#include "app.h"

void web_app_info_cells(void)
{
    struct state st;

    app_snapshot(&st);
    web_td_ro("Environment", "ie", env_info[st.code].str);
    web_td_ro("Sensor", "is", st.code == ENV_SENSOR ? "FAULT" : st.sensor_ok ? "OK" : "ERR");
    web_td_ro("LCD 20x4", "il", lcd_view_ok() ? "OK" : "ERR");
}

void web_app_sections(void)
{
    web_out_str(WEB_SECTIONS);
}

const char *web_app_js(void)
{
    return WEB_JS;
}

static void reply_post(int fd, uint8_t type, int16_t val, const char *ok_msg)
{
    bool ok = app_post(type, val);

    web_api_reply(fd, ok, ok ? ok_msg : "busy, try again");
}

bool web_app_api_post(int fd, const char *path, const char *body)
{
    char v[8], *end = v;

    if (strcmp(path, "/api/pump") == 0) {
        if (!http_form_field(body, "on", v, sizeof(v)) || (strcmp(v, "0") && strcmp(v, "1"))) {
            web_api_reply(fd, false, "on must be 0 or 1");
        } else {
            reply_post(fd, CMD_PUMP_SET, v[0] == '1', v[0] == '1' ? "pump ON" : "pump OFF");
        }
    } else if (strcmp(path, "/api/pump/rearm") == 0) {
        reply_post(fd, CMD_PUMP_REARM, 0, "auto re-enabled");
    } else if (strcmp(path, "/api/servo") == 0) {
        if (!http_form_field(body, "mode", v, sizeof(v)) ||
            (strcmp(v, "auto") && strcmp(v, "manual"))) {
            web_api_reply(fd, false, "mode must be auto or manual");
        } else {
            reply_post(fd, CMD_SERVO_SET_MODE, v[0] == 'm' ? SERVO_MANUAL : SERVO_AUTO,
                       v[0] == 'm' ? "servo MANUAL" : "servo AUTO");
        }
    } else if (strcmp(path, "/api/servo/angle") == 0) {
        long deg = -1;

        if (http_form_field(body, "deg", v, sizeof(v)) && v[0]) deg = strtol(v, &end, 10);
        if (deg < SERVO_MIN_DEG || deg > SERVO_MAX_DEG || *end != '\0') {
            web_api_reply(fd, false, "deg must be 0..180");
        } else if (atomic_get(&g_servo_mode) != SERVO_MANUAL) {
            web_api_reply(fd, false, "switch the servo to MANUAL first");
        } else {
            reply_post(fd, CMD_SERVO_ANGLE, (int16_t)deg, "angle set");
        }
    } else {
        return false;
    }
    return true;
}
```
